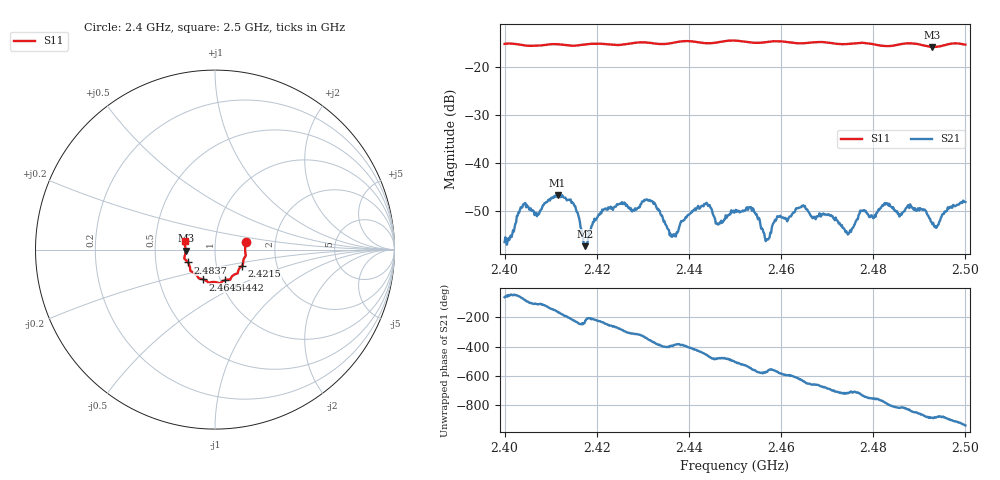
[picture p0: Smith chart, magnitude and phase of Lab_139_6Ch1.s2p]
# Hz S RI R 50
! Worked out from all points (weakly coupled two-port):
!   601 points, 2.4 GHz to 2.5 GHz, reference 50 ohm
!   highest |S21| = -46.75 dB at 2.4115 GHz (marker M1); lowest = -57.5 dB at 2.4175 GHz (marker M2)
!   lowest |S11| = -15.7 dB at 2.4928 GHz (marker M3), VSWR 1.39, Z = 36 - j0.378 ohm
!   |S11| at or under -10 dB: start of sweep to end of sweep
!   S12 and S22 are empty: the file has one direction only
!   S11 on the Smith chart (normalised r, x): 2.4 GHz: 1.41, +0.12; 2.4215 GHz: 1.33, -0.25; 2.4442 GHz: 1.05, -0.37; 2.4645 GHz: 0.83, -0.29; 2.4837 GHz: 0.73, -0.11; 2.5 GHz: 0.71, +0.07
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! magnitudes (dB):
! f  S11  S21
! 2.4 GHz  -15.1  -56.6
! 2.404 GHz  -15.4  -48.7
! 2.407 GHz  -15.5  -51.2
! 2.4115 GHz  -15.2  -46.8
! 2.4148 GHz  -15.5  -48.4
! 2.4167 GHz  -15.3  -53.9
! 2.4175 GHz  -15.2  -57.5
! 2.4215 GHz  -15.1  -49.8
! 2.4333 GHz  -15.1  -49.6
! 2.4367 GHz  -14.8  -55.0
! 2.4442 GHz  -15.0  -49.0
! 2.4463 GHz  -14.7  -53.0
! 2.45 GHz  -14.4  -50.3
! 2.4535 GHz  -14.8  -49.3
! 2.457 GHz  -14.7  -56.0
! 2.4645 GHz  -15.0  -49.0
! 2.4667 GHz  -14.8  -51.3
! 2.4747 GHz  -15.1  -54.9
! 2.4833 GHz  -15.6  -49.0
! 2.4837 GHz  -15.5  -49.1
! 2.4928 GHz  -15.7  -52.9
! 2.5 GHz  -15.3  -48.2
